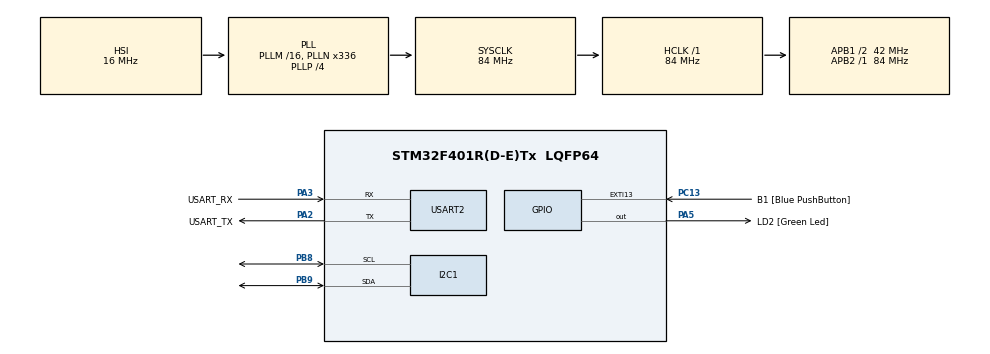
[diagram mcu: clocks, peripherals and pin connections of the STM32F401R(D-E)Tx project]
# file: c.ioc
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Dma.I2C1_RX.1.Direction=DMA_PERIPH_TO_MEMORY
Dma.I2C1_RX.1.FIFOMode=DMA_FIFOMODE_DISABLE
Dma.I2C1_RX.1.Instance=DMA1_Stream0
Dma.I2C1_RX.1.MemDataAlignment=DMA_MDATAALIGN_BYTE
Dma.I2C1_RX.1.MemInc=DMA_MINC_ENABLE
Dma.I2C1_RX.1.Mode=DMA_NORMAL
Dma.I2C1_RX.1.PeriphDataAlignment=DMA_PDATAALIGN_BYTE
Dma.I2C1_RX.1.PeriphInc=DMA_PINC_DISABLE
Dma.I2C1_RX.1.Priority=DMA_PRIORITY_LOW
Dma.Request0=USART2_TX
Dma.Request1=I2C1_RX
Dma.USART2_TX.0.Direction=DMA_MEMORY_TO_PERIPH
Dma.USART2_TX.0.FIFOMode=DMA_FIFOMODE_DISABLE
Dma.USART2_TX.0.Instance=DMA1_Stream6
Dma.USART2_TX.0.MemDataAlignment=DMA_MDATAALIGN_BYTE
Dma.USART2_TX.0.MemInc=DMA_MINC_ENABLE
Dma.USART2_TX.0.Mode=DMA_NORMAL
Dma.USART2_TX.0.PeriphDataAlignment=DMA_PDATAALIGN_BYTE
Dma.USART2_TX.0.PeriphInc=DMA_PINC_DISABLE
Dma.USART2_TX.0.Priority=DMA_PRIORITY_LOW
Mcu.Family=STM32F4
Mcu.Name=STM32F401R(D-E)Tx
Mcu.Package=LQFP64
NVIC.DMA1_Stream0_IRQn=true\:0\:0\:false\:false\:true\:false\:true\:true
NVIC.DMA1_Stream6_IRQn=true\:0\:0\:false\:false\:true\:false\:true\:true
NVIC.I2C1_ER_IRQn=true\:0\:0\:false\:false\:true\:true\:true\:true
NVIC.I2C1_EV_IRQn=true\:0\:0\:false\:false\:true\:true\:true\:true
NVIC.PriorityGroup=NVIC_PRIORITYGROUP_0
NVIC.TIM2_IRQn=true\:0\:0\:false\:false\:true\:true\:true\:true
NVIC.USART2_IRQn=true\:0\:0\:false\:false\:true\:true\:true\:true
PA13.GPIO_Label=TMS
PA13.Mode=Serial_Wire
PA13.Signal=SYS_JTMS-SWDIO
PA14.GPIO_Label=TCK
PA14.Mode=Serial_Wire
PA14.Signal=SYS_JTCK-SWCLK
PA2.GPIO_Label=USART_TX
PA2.GPIO_Mode=GPIO_MODE_AF_PP
PA2.GPIO_PuPd=GPIO_NOPULL
PA2.GPIO_Speed=GPIO_SPEED_FREQ_LOW
PA2.Mode=Asynchronous
PA2.Signal=USART2_TX
PA3.GPIO_Label=USART_RX
PA3.GPIO_Mode=GPIO_MODE_AF_PP
PA3.GPIO_PuPd=GPIO_NOPULL
PA3.GPIO_Speed=GPIO_SPEED_FREQ_LOW
PA3.Mode=Asynchronous
PA3.Signal=USART2_RX
PA5.GPIO_Label=LD2 [Green Led]
PA5.GPIO_Mode=GPIO_MODE_OUTPUT_PP
PA5.GPIO_PuPd=GPIO_NOPULL
PA5.GPIO_Speed=GPIO_SPEED_FREQ_LOW
PA5.Signal=GPIO_Output
PB3.GPIO_Label=SWO
PB3.Signal=SYS_JTDO-SWO
PB8.Mode=I2C
PB8.Signal=I2C1_SCL
PB9.Mode=I2C
PB9.Signal=I2C1_SDA
PC13-ANTI_TAMP.GPIO_Label=B1 [Blue PushButton]
PC13-ANTI_TAMP.GPIO_ModeDefaultEXTI=GPIO_MODE_IT_FALLING
PC13-ANTI_TAMP.GPIO_PuPd=GPIO_NOPULL
PC13-ANTI_TAMP.Signal=GPXTI13
PC14-OSC32_IN.Mode=LSE-External-Oscillator
PC14-OSC32_IN.Signal=RCC_OSC32_IN
PC15-OSC32_OUT.Mode=LSE-External-Oscillator
PC15-OSC32_OUT.Signal=RCC_OSC32_OUT
PH0\ -\ OSC_IN.Mode=HSE-External-Clock-Source
PH0\ -\ OSC_IN.Signal=RCC_OSC_IN
PH1\ -\ OSC_OUT.Mode=HSE-External-Clock-Source
PH1\ -\ OSC_OUT.Signal=RCC_OSC_OUT
ProjectManager.HeapSize=0x200
ProjectManager.StackSize=0x400
ProjectManager.TargetToolchain=STM32CubeIDE
RCC.48MHZClocksFreq_Value=48000000
RCC.AHBFreq_Value=84000000
RCC.APB1CLKDivider=RCC_HCLK_DIV2
RCC.APB1Freq_Value=42000000
RCC.APB1TimFreq_Value=84000000
RCC.APB2Freq_Value=84000000
RCC.APB2TimFreq_Value=84000000
RCC.CortexFreq_Value=84000000
RCC.HCLKFreq_Value=84000000
RCC.HSE_VALUE=8000000
RCC.HSI_VALUE=16000000
RCC.PLLN=336
RCC.PLLP=RCC_PLLP_DIV4
RCC.PLLQ=7
RCC.SYSCLKFreq_VALUE=84000000
RCC.SYSCLKSource=RCC_SYSCLKSOURCE_PLLCLK
RCC.VCOOutputFreq_Value=336000000
TIM2.Channel-Output\ Compare1\ No\ Output=TIM_CHANNEL_1
TIM2.Period=60000 - 1
TIM2.Prescaler=1400 - 1
USART2.VirtualMode=VM_ASYNC
VP_TIM2_VS_no_output1.Mode=Output Compare1 No Output
board=NUCLEO-F401RE

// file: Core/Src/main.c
/* USER CODE BEGIN Header */
/**
  ******************************************************************************
  * @file           : main.c
  * @brief          : Main program body
  ******************************************************************************
  * @attention
  *
  * Copyright (c) 2023 STMicroelectronics.
  * All rights reserved.
  *
  * This software is licensed under terms that can be found in the LICENSE file
  * in the root directory of this software component.
  * If no LICENSE file comes with this software, it is provided AS-IS.
  *
  ******************************************************************************
  */
/* USER CODE END Header */
#include "main.h"

/* USER CODE BEGIN Includes */

#include <string.h>
#include <stdio.h>

/* USER CODE END Includes */

I2C_HandleTypeDef hi2c1;
DMA_HandleTypeDef hdma_i2c1_rx;

TIM_HandleTypeDef htim2;

UART_HandleTypeDef huart2;
DMA_HandleTypeDef hdma_usart2_tx;

/* USER CODE BEGIN PV */

uint16_t address = 0x28 << 1; // 8 bit address

// Registers
uint8_t WHO_AM_I = 0x0f;
uint8_t CTRL_REG1 = 0x20;
uint8_t CTRL_REG2 = 0x21;
uint8_t CTRL_REG4 = 0x23;
uint8_t OUT_X = 0xA9;
uint8_t OUT_Y = 0x2b;
uint8_t OUT_Z = 0x2d;
uint8_t AUTO_INCREMENT = 0x80;

// Constants
const uint16_t MAX_SAMPLING_VALUE = 256;
const uint8_t SCALE = 2; // +-2G
const float SENSITIVITY = SCALE * 2.f / MAX_SAMPLING_VALUE;

/* USER CODE END PV */

void SystemClock_Config(void);
static void MX_GPIO_Init(void);
static void MX_DMA_Init(void);
static void MX_USART2_UART_Init(void);
static void MX_I2C1_Init(void);
static void MX_TIM2_Init(void);
/* USER CODE BEGIN PFP */

uint8_t readRegister(uint8_t reg);
void writeRegister(uint8_t reg, uint8_t content);

/* USER CODE END PFP */

/* USER CODE BEGIN 0 */

uint8_t readRegister(uint8_t reg)
{
	uint8_t data;

	// Send the first request to write the register address
	HAL_I2C_Master_Transmit(&hi2c1, address, &reg, 1, HAL_MAX_DELAY);

	// Then read the answer
	HAL_I2C_Master_Receive(&hi2c1, address, &data, 1, HAL_MAX_DELAY);

	return data;
}

void writeRegister(uint8_t reg, uint8_t content)
{
	uint8_t data[2] = {reg, content};

	// Write the combination of register address and content
	HAL_I2C_Master_Transmit(&hi2c1, address, data, 2, HAL_MAX_DELAY);
}

/* USER CODE END 0 */

int main(void)
{
  /* USER CODE BEGIN 1 */

  char printBuffer[100];

  /* USER CODE END 1 */

  /* MCU Configuration--------------------------------------------------------*/

  /* Reset of all peripherals, Initializes the Flash interface and the Systick. */
  HAL_Init();

  /* Configure the system clock */
  SystemClock_Config();

  /* Initialize all configured peripherals */
  MX_GPIO_Init();
  MX_DMA_Init();
  MX_USART2_UART_Init();
  MX_I2C1_Init();
  MX_TIM2_Init();
  /* USER CODE BEGIN 2 */

  // Check WHO_AM_I
  uint8_t data;

  // Get the whoami register
  data = readRegister(WHO_AM_I);

  if(data != 0x33)
  {
	  sprintf(printBuffer, "Error validating the WHO AM I. Answer: %X\r\n", data);
	  HAL_UART_Transmit(&huart2, (uint8_t *) printBuffer, strlen(printBuffer), HAL_MAX_DELAY);
	  return 1;
  }

  // The check has been done with success
  sprintf(printBuffer, "WHO AM I correct!\r\n");
  HAL_UART_Transmit(&huart2, (uint8_t *) printBuffer, strlen(printBuffer), HAL_MAX_DELAY);

  // Configure the normal mode
  data = readRegister(CTRL_REG1);

  // Set the third bit to 0 in normal mode
  data &= 0b11110111;

  // Set the data rate to 100Hz
  data &= 0b00001111;
  data |= 0b01010000;

  // Send the config
  writeRegister(CTRL_REG1, data);

  // Set the high pass filter to disabled
  data = 0x00;

  // Send the config
  writeRegister(CTRL_REG2, data);

  // Set the full scale value to +-2g
  data = readRegister(CTRL_REG4);

  // 00 means +-2g
  data &= 0b11001111;

  // Send the config
  writeRegister(CTRL_REG4, data);

  // Enable the periodic timer
  HAL_TIM_Base_Start_IT(&htim2);

  /* USER CODE END 2 */

  /* Infinite loop */
  while (1)
  {

  }
}

void SystemClock_Config(void)
{
  RCC_OscInitTypeDef RCC_OscInitStruct = {0};
  RCC_ClkInitTypeDef RCC_ClkInitStruct = {0};

  /** Configure the main internal regulator output voltage
  */
  __HAL_RCC_PWR_CLK_ENABLE();
  __HAL_PWR_VOLTAGESCALING_CONFIG(PWR_REGULATOR_VOLTAGE_SCALE2);

  /** Initializes the RCC Oscillators according to the specified parameters
  * in the RCC_OscInitTypeDef structure.
  */
  RCC_OscInitStruct.OscillatorType = RCC_OSCILLATORTYPE_HSI;
  RCC_OscInitStruct.HSIState = RCC_HSI_ON;
  RCC_OscInitStruct.HSICalibrationValue = RCC_HSICALIBRATION_DEFAULT;
  RCC_OscInitStruct.PLL.PLLState = RCC_PLL_ON;
  RCC_OscInitStruct.PLL.PLLSource = RCC_PLLSOURCE_HSI;
  RCC_OscInitStruct.PLL.PLLM = 16;
  RCC_OscInitStruct.PLL.PLLN = 336;
  RCC_OscInitStruct.PLL.PLLP = RCC_PLLP_DIV4;
  RCC_OscInitStruct.PLL.PLLQ = 7;
  if (HAL_RCC_OscConfig(&RCC_OscInitStruct) != HAL_OK)
  {
    Error_Handler();
  }

  /** Initializes the CPU, AHB and APB buses clocks
  */
  RCC_ClkInitStruct.ClockType = RCC_CLOCKTYPE_HCLK|RCC_CLOCKTYPE_SYSCLK
                              |RCC_CLOCKTYPE_PCLK1|RCC_CLOCKTYPE_PCLK2;
  RCC_ClkInitStruct.SYSCLKSource = RCC_SYSCLKSOURCE_PLLCLK;
  RCC_ClkInitStruct.AHBCLKDivider = RCC_SYSCLK_DIV1;
  RCC_ClkInitStruct.APB1CLKDivider = RCC_HCLK_DIV2;
  RCC_ClkInitStruct.APB2CLKDivider = RCC_HCLK_DIV1;

  if (HAL_RCC_ClockConfig(&RCC_ClkInitStruct, FLASH_LATENCY_2) != HAL_OK)
  {
    Error_Handler();
  }
}

static void MX_I2C1_Init(void)
{

  hi2c1.Instance = I2C1;
  hi2c1.Init.ClockSpeed = 100000;
  hi2c1.Init.DutyCycle = I2C_DUTYCYCLE_2;
  hi2c1.Init.OwnAddress1 = 0;
  hi2c1.Init.AddressingMode = I2C_ADDRESSINGMODE_7BIT;
  hi2c1.Init.DualAddressMode = I2C_DUALADDRESS_DISABLE;
  hi2c1.Init.OwnAddress2 = 0;
  hi2c1.Init.GeneralCallMode = I2C_GENERALCALL_DISABLE;
  hi2c1.Init.NoStretchMode = I2C_NOSTRETCH_DISABLE;
  if (HAL_I2C_Init(&hi2c1) != HAL_OK)
  {
    Error_Handler();
  }

}

static void MX_TIM2_Init(void)
{

  TIM_MasterConfigTypeDef sMasterConfig = {0};
  TIM_OC_InitTypeDef sConfigOC = {0};

  htim2.Instance = TIM2;
  htim2.Init.Prescaler = 1400 - 1;
  htim2.Init.CounterMode = TIM_COUNTERMODE_UP;
  htim2.Init.Period = 60000 - 1;
  htim2.Init.ClockDivision = TIM_CLOCKDIVISION_DIV1;
  htim2.Init.AutoReloadPreload = TIM_AUTORELOAD_PRELOAD_DISABLE;
  if (HAL_TIM_OC_Init(&htim2) != HAL_OK)
  {
    Error_Handler();
  }
  sMasterConfig.MasterOutputTrigger = TIM_TRGO_RESET;
  sMasterConfig.MasterSlaveMode = TIM_MASTERSLAVEMODE_DISABLE;
  if (HAL_TIMEx_MasterConfigSynchronization(&htim2, &sMasterConfig) != HAL_OK)
  {
    Error_Handler();
  }
  sConfigOC.OCMode = TIM_OCMODE_TIMING;
  sConfigOC.Pulse = 0;
  sConfigOC.OCPolarity = TIM_OCPOLARITY_HIGH;
  sConfigOC.OCFastMode = TIM_OCFAST_DISABLE;
  if (HAL_TIM_OC_ConfigChannel(&htim2, &sConfigOC, TIM_CHANNEL_1) != HAL_OK)
  {
    Error_Handler();
  }

}

static void MX_USART2_UART_Init(void)
{

  huart2.Instance = USART2;
  huart2.Init.BaudRate = 115200;
  huart2.Init.WordLength = UART_WORDLENGTH_8B;
  huart2.Init.StopBits = UART_STOPBITS_1;
  huart2.Init.Parity = UART_PARITY_NONE;
  huart2.Init.Mode = UART_MODE_TX_RX;
  huart2.Init.HwFlowCtl = UART_HWCONTROL_NONE;
  huart2.Init.OverSampling = UART_OVERSAMPLING_16;
  if (HAL_UART_Init(&huart2) != HAL_OK)
  {
    Error_Handler();
  }

}

static void MX_DMA_Init(void)
{

  /* DMA controller clock enable */
  __HAL_RCC_DMA1_CLK_ENABLE();

  /* DMA interrupt init */
  /* DMA1_Stream0_IRQn interrupt configuration */
  HAL_NVIC_SetPriority(DMA1_Stream0_IRQn, 0, 0);
  HAL_NVIC_EnableIRQ(DMA1_Stream0_IRQn);
  /* DMA1_Stream6_IRQn interrupt configuration */
  HAL_NVIC_SetPriority(DMA1_Stream6_IRQn, 0, 0);
  HAL_NVIC_EnableIRQ(DMA1_Stream6_IRQn);

}

static void MX_GPIO_Init(void)
{
  GPIO_InitTypeDef GPIO_InitStruct = {0};

  /* GPIO Ports Clock Enable */
  __HAL_RCC_GPIOC_CLK_ENABLE();
  __HAL_RCC_GPIOH_CLK_ENABLE();
  __HAL_RCC_GPIOA_CLK_ENABLE();
  __HAL_RCC_GPIOB_CLK_ENABLE();

  /*Configure GPIO pin Output Level */
  HAL_GPIO_WritePin(LD2_GPIO_Port, LD2_Pin, GPIO_PIN_RESET);

  /*Configure GPIO pin : B1_Pin */
  GPIO_InitStruct.Pin = B1_Pin;
  GPIO_InitStruct.Mode = GPIO_MODE_IT_FALLING;
  GPIO_InitStruct.Pull = GPIO_NOPULL;
  HAL_GPIO_Init(B1_GPIO_Port, &GPIO_InitStruct);

  /*Configure GPIO pin : LD2_Pin */
  GPIO_InitStruct.Pin = LD2_Pin;
  GPIO_InitStruct.Mode = GPIO_MODE_OUTPUT_PP;
  GPIO_InitStruct.Pull = GPIO_NOPULL;
  GPIO_InitStruct.Speed = GPIO_SPEED_FREQ_LOW;
  HAL_GPIO_Init(LD2_GPIO_Port, &GPIO_InitStruct);

}

/* USER CODE BEGIN 4 */
//We request 5 byte to account of reserved registers
uint8_t i2cData[5];

void HAL_TIM_PeriodElapsedCallback(TIM_HandleTypeDef *htim)
{
	uint8_t TEMP;

	TEMP = OUT_X | AUTO_INCREMENT;

	HAL_I2C_Master_Transmit(&hi2c1, address, &TEMP, 1, HAL_MAX_DELAY);

	HAL_I2C_Master_Receive_DMA(&hi2c1, address, i2cData,sizeof(i2cData));

}
void HAL_I2C_MasterRxCpltCallback (I2C_HandleTypeDef * hi2c)
{
	char printBuffer[100];

	sprintf(printBuffer, "X: %.2f g\n\rY: %.2f g\n\rZ: %.2f g\r\n", ((int8_t)i2cData[0]) * SENSITIVITY, ((int8_t)i2cData[2]) * SENSITIVITY,((int8_t)i2cData[4]) * SENSITIVITY);
	HAL_UART_Transmit_DMA(&huart2, (uint8_t *) printBuffer, strlen(printBuffer));
}

/* USER CODE END 4 */

void Error_Handler(void)
{
  __disable_irq();
  while (1)
  {
  }
}
